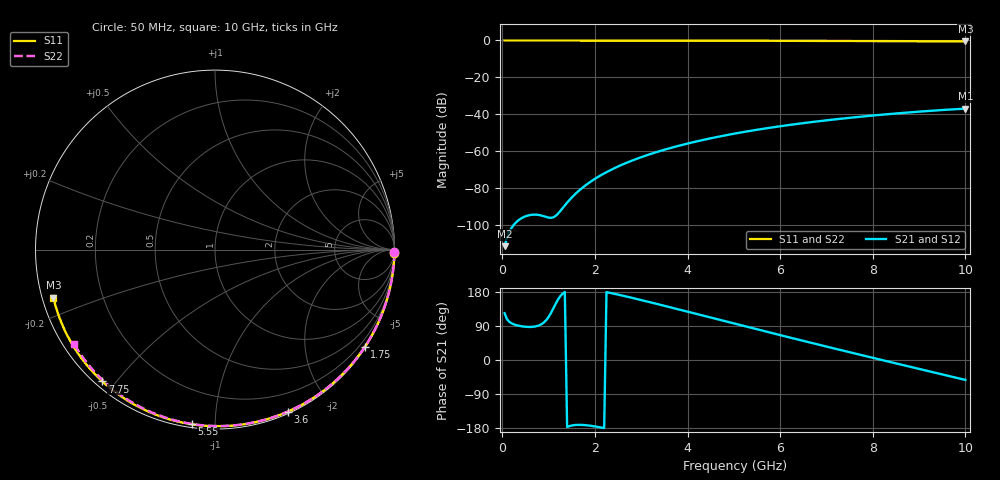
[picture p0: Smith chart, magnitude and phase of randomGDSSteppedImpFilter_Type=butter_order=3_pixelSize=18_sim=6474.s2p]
! freq	dB(S11)	phase(S11)	dB(S12)	phase(S12)
!  dB(S21)	phase(S21)	dB(S22)	phase(S22)
!S-par simulation data
#  GHz  S  DB  R 50
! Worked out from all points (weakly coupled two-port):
!   200 points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, 50 MHz to 10 GHz, reference 50 ohm
!   highest |S21| = -37.04 dB at 10 GHz (marker M1); lowest = -111.8 dB at 50 MHz (marker M2)
!   lowest |S11| = -0.5 dB at 10 GHz (marker M3), VSWR 31.99, Z = 1.6 - j7.29 ohm
!   |S11| at or under -10 dB: nowhere
!   |S22| runs from -0.5 to 0.0 dB; largest |S21 - S12| = 0
!   S11 on the Smith chart (normalised r, x): 50 MHz: open; 1.75 GHz: 0.03, -3.38; 3.6 GHz: 0.02, -1.55; 5.55 GHz: 0.02, -0.88; 7.75 GHz: 0.02, -0.46; 10 GHz: 0.03, -0.15
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0.05  -0.00 -1.0  -111.77 123.5  -111.77 123.5  -0.00 -0.9
0.45  -0.01 -8.6  -96.10 88.3  -96.10 88.3  -0.01 -7.6
0.9  -0.02 -17.1  -95.52 99.2  -95.52 99.2  -0.02 -15.2
1.3  -0.03 -24.6  -91.19 174.8  -91.19 174.8  -0.03 -21.9
1.7  -0.04 -32.0  -80.65 -171.2  -80.65 -171.2  -0.04 -28.5
1.75  -0.04 -33.0  -79.63 -171.5  -79.63 -171.5  -0.04 -29.3
1.9  -0.05 -35.7  -76.85 -173.4  -76.85 -173.4  -0.04 -31.7
2.05  -0.05 -38.5  -74.41 -176.2  -74.41 -176.2  -0.04 -34.2
2.25  -0.05 -42.1  -71.56 179.1  -71.56 179.1  -0.05 -37.4
2.45  -0.06 -45.7  -69.06 173.9  -69.06 173.9  -0.05 -40.7
2.9  -0.07 -53.7  -64.34 161.1  -64.34 161.1  -0.06 -47.8
3.4  -0.08 -62.4  -60.12 146.1  -60.12 146.1  -0.07 -55.6
3.6  -0.09 -65.8  -58.66 139.9  -58.66 139.9  -0.08 -58.7
4.3  -0.11 -77.5  -54.25 118.2  -54.25 118.2  -0.10 -69.3
5.05  -0.14 -89.7  -50.45 94.9  -50.45 94.9  -0.12 -80.3
5.55  -0.16 -97.5  -48.32 79.5  -48.32 79.5  -0.14 -87.4
6.1  -0.19 -106.0  -46.26 62.6  -46.26 62.6  -0.17 -95.1
6.7  -0.22 -115.0  -44.29 44.4  -44.29 44.4  -0.20 -103.3
7.75  -0.30 -130.5  -41.39 13.1  -41.39 13.1  -0.27 -117.2
8.35  -0.35 -139.2  -40.00 -4.5  -40.00 -4.5  -0.32 -125.0
9.2  -0.44 -151.6  -38.31 -29.4  -38.31 -29.4  -0.40 -135.9
10  -0.54 -163.4  -37.04 -52.6  -37.04 -52.6  -0.49 -146.2
